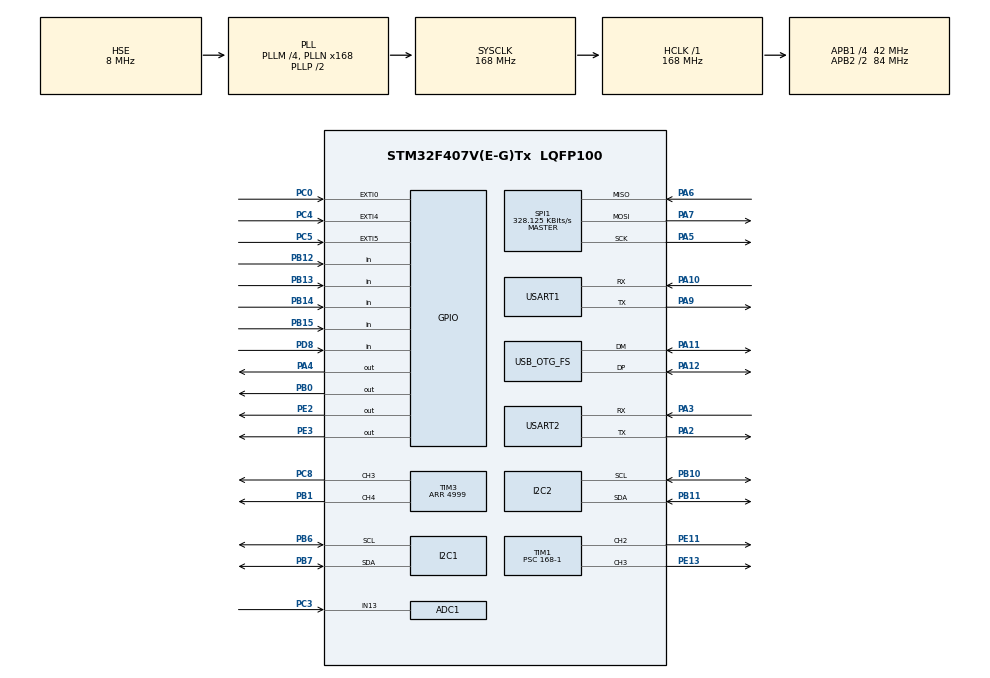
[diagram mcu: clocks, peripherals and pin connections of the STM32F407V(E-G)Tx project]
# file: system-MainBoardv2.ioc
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ADC1.Channel-0\#ChannelRegularConversion=ADC_CHANNEL_TEMPSENSOR
ADC1.Channel-1\#ChannelRegularConversion=ADC_CHANNEL_13
ADC1.ContinuousConvMode=ENABLE
ADC1.DMAContinuousRequests=ENABLE
ADC1.NbrOfConversion=2
ADC1.NbrOfConversionFlag=1
ADC1.Rank-0\#ChannelRegularConversion=1
ADC1.Rank-1\#ChannelRegularConversion=2
ADC1.SamplingTime-0\#ChannelRegularConversion=ADC_SAMPLETIME_480CYCLES
ADC1.SamplingTime-1\#ChannelRegularConversion=ADC_SAMPLETIME_480CYCLES
ADC1.ScanConvMode=ENABLE
ADC1.master=1
Dma.ADC1.4.Direction=DMA_PERIPH_TO_MEMORY
Dma.ADC1.4.FIFOMode=DMA_FIFOMODE_DISABLE
Dma.ADC1.4.Instance=DMA2_Stream4
Dma.ADC1.4.MemDataAlignment=DMA_MDATAALIGN_HALFWORD
Dma.ADC1.4.MemInc=DMA_MINC_ENABLE
Dma.ADC1.4.Mode=DMA_CIRCULAR
Dma.ADC1.4.PeriphDataAlignment=DMA_PDATAALIGN_HALFWORD
Dma.ADC1.4.PeriphInc=DMA_PINC_DISABLE
Dma.ADC1.4.Priority=DMA_PRIORITY_LOW
Dma.Request0=SPI1_TX
Dma.Request1=SPI1_RX
Dma.Request2=USART1_RX
Dma.Request3=USART1_TX
Dma.Request4=ADC1
Dma.SPI1_RX.1.Direction=DMA_PERIPH_TO_MEMORY
Dma.SPI1_RX.1.FIFOMode=DMA_FIFOMODE_DISABLE
Dma.SPI1_RX.1.Instance=DMA2_Stream0
Dma.SPI1_RX.1.MemDataAlignment=DMA_MDATAALIGN_BYTE
Dma.SPI1_RX.1.MemInc=DMA_MINC_ENABLE
Dma.SPI1_RX.1.Mode=DMA_NORMAL
Dma.SPI1_RX.1.PeriphDataAlignment=DMA_PDATAALIGN_BYTE
Dma.SPI1_RX.1.PeriphInc=DMA_PINC_DISABLE
Dma.SPI1_RX.1.Priority=DMA_PRIORITY_VERY_HIGH
Dma.SPI1_TX.0.Direction=DMA_MEMORY_TO_PERIPH
Dma.SPI1_TX.0.FIFOMode=DMA_FIFOMODE_DISABLE
Dma.SPI1_TX.0.Instance=DMA2_Stream3
Dma.SPI1_TX.0.MemDataAlignment=DMA_MDATAALIGN_BYTE
Dma.SPI1_TX.0.MemInc=DMA_MINC_ENABLE
Dma.SPI1_TX.0.Mode=DMA_NORMAL
Dma.SPI1_TX.0.PeriphDataAlignment=DMA_PDATAALIGN_BYTE
Dma.SPI1_TX.0.PeriphInc=DMA_PINC_DISABLE
Dma.SPI1_TX.0.Priority=DMA_PRIORITY_HIGH
Dma.USART1_RX.2.Direction=DMA_PERIPH_TO_MEMORY
Dma.USART1_RX.2.FIFOMode=DMA_FIFOMODE_DISABLE
Dma.USART1_RX.2.Instance=DMA2_Stream2
Dma.USART1_RX.2.MemDataAlignment=DMA_MDATAALIGN_BYTE
Dma.USART1_RX.2.MemInc=DMA_MINC_ENABLE
Dma.USART1_RX.2.Mode=DMA_NORMAL
Dma.USART1_RX.2.PeriphDataAlignment=DMA_PDATAALIGN_BYTE
Dma.USART1_RX.2.PeriphInc=DMA_PINC_DISABLE
Dma.USART1_RX.2.Priority=DMA_PRIORITY_LOW
Dma.USART1_TX.3.Direction=DMA_MEMORY_TO_PERIPH
Dma.USART1_TX.3.FIFOMode=DMA_FIFOMODE_DISABLE
Dma.USART1_TX.3.Instance=DMA2_Stream7
Dma.USART1_TX.3.MemDataAlignment=DMA_MDATAALIGN_BYTE
Dma.USART1_TX.3.MemInc=DMA_MINC_ENABLE
Dma.USART1_TX.3.Mode=DMA_NORMAL
Dma.USART1_TX.3.PeriphDataAlignment=DMA_PDATAALIGN_BYTE
Dma.USART1_TX.3.PeriphInc=DMA_PINC_DISABLE
Dma.USART1_TX.3.Priority=DMA_PRIORITY_LOW
FREERTOS.INCLUDE_eTaskGetState=1
FREERTOS.INCLUDE_pcTaskGetTaskName=1
FREERTOS.INCLUDE_uxTaskGetStackHighWaterMark=1
FREERTOS.INCLUDE_vTaskCleanUpResources=1
FREERTOS.INCLUDE_vTaskDelayUntil=1
FREERTOS.INCLUDE_xEventGroupSetBitFromISR=1
FREERTOS.INCLUDE_xQueueGetMutexHolder=1
FREERTOS.INCLUDE_xSemaphoreGetMutexHolder=1
FREERTOS.INCLUDE_xTaskAbortDelay=1
FREERTOS.INCLUDE_xTaskGetCurrentTaskHandle=1
FREERTOS.INCLUDE_xTaskGetHandle=1
FREERTOS.INCLUDE_xTimerPendFunctionCall=1
FREERTOS.Tasks01=UART_Task,0,512,usart_task,As weak,NULL,Dynamic,NULL,NULL;INS_TASK,2,512,INS_Task,As weak,NULL,Dynamic,NULL,NULL
FREERTOS.configENABLE_FPU=0
FREERTOS.configUSE_TIMERS=1
Mcu.Family=STM32F4
Mcu.Name=STM32F407V(E-G)Tx
Mcu.Package=LQFP100
NVIC.DMA2_Stream0_IRQn=true\:5\:0\:false\:false\:true\:true\:false\:true\:true
NVIC.DMA2_Stream2_IRQn=true\:5\:0\:false\:false\:true\:true\:false\:true\:true
NVIC.DMA2_Stream3_IRQn=true\:5\:0\:false\:false\:true\:true\:false\:true\:true
NVIC.DMA2_Stream4_IRQn=true\:5\:0\:true\:false\:true\:true\:false\:true\:true
NVIC.DMA2_Stream7_IRQn=true\:5\:0\:false\:false\:true\:true\:false\:true\:true
NVIC.EXTI0_IRQn=true\:5\:0\:false\:false\:true\:true\:true\:true\:true
NVIC.EXTI4_IRQn=true\:5\:0\:true\:false\:true\:true\:true\:true\:true
NVIC.EXTI9_5_IRQn=true\:5\:0\:true\:false\:true\:true\:true\:true\:true
NVIC.OTG_FS_IRQn=true\:5\:0\:false\:false\:true\:true\:false\:true\:true
NVIC.PriorityGroup=NVIC_PRIORITYGROUP_4
NVIC.TIM2_IRQn=true\:15\:0\:false\:false\:true\:false\:false\:true\:true
NVIC.TimeBase=TIM2_IRQn
NVIC.TimeBaseIP=TIM2
PA10.Mode=Asynchronous
PA10.Signal=USART1_RX
PA11.Mode=Device_Only
PA11.Signal=USB_OTG_FS_DM
PA12.GPIO_PuPd=GPIO_PULLUP
PA12.Mode=Device_Only
PA12.Signal=USB_OTG_FS_DP
PA13.Mode=Serial_Wire
PA13.Signal=SYS_JTMS-SWDIO
PA14.Mode=Serial_Wire
PA14.Signal=SYS_JTCK-SWCLK
PA2.Mode=Asynchronous
PA2.Signal=USART2_TX
PA3.Mode=Asynchronous
PA3.Signal=USART2_RX
PA4.GPIO_PuPd=GPIO_PULLUP
PA4.GPIO_Speed=GPIO_SPEED_FREQ_HIGH
PA4.PinState=GPIO_PIN_SET
PA4.Signal=GPIO_Output
PA5.Mode=Full_Duplex_Master
PA5.Signal=SPI1_SCK
PA6.Mode=Full_Duplex_Master
PA6.Signal=SPI1_MISO
PA7.Mode=Full_Duplex_Master
PA7.Signal=SPI1_MOSI
PA9.Mode=Asynchronous
PA9.Signal=USART1_TX
PB0.GPIO_ModeDefaultOutputPP=GPIO_MODE_OUTPUT_PP
PB0.GPIO_PuPd=GPIO_PULLUP
PB0.GPIO_Speed=GPIO_SPEED_FREQ_HIGH
PB0.PinState=GPIO_PIN_SET
PB0.Signal=GPIO_Output
PB1.Signal=S_TIM3_CH4
PB10.Mode=I2C
PB10.Signal=I2C2_SCL
PB11.Mode=I2C
PB11.Signal=I2C2_SDA
PB12.GPIO_PuPd=GPIO_PULLUP
PB12.Signal=GPIO_Input
PB13.GPIO_PuPd=GPIO_PULLUP
PB13.Signal=GPIO_Input
PB14.GPIO_PuPd=GPIO_PULLUP
PB14.Signal=GPIO_Input
PB15.GPIO_PuPd=GPIO_PULLUP
PB15.Signal=GPIO_Input
PB6.Mode=I2C
PB6.Signal=I2C1_SCL
PB7.Mode=I2C
PB7.Signal=I2C1_SDA
PC0.GPIO_ModeDefaultEXTI=GPIO_MODE_IT_FALLING
PC0.GPIO_PuPd=GPIO_PULLUP
PC0.Signal=GPXTI0
PC3.Signal=ADCx_IN13
PC4.GPIO_ModeDefaultEXTI=GPIO_MODE_IT_FALLING
PC4.GPIO_PuPd=GPIO_PULLUP
PC4.Signal=GPXTI4
PC5.GPIO_ModeDefaultEXTI=GPIO_MODE_IT_FALLING
PC5.GPIO_PuPd=GPIO_PULLUP
PC5.Signal=GPXTI5
PC8.Signal=S_TIM3_CH3
PD8.GPIO_PuPd=GPIO_PULLUP
PD8.Signal=GPIO_Input
PE11.Signal=S_TIM1_CH2
PE13.Signal=S_TIM1_CH3
PE2.GPIO_PuPd=GPIO_PULLUP
PE2.PinState=GPIO_PIN_SET
PE2.Signal=GPIO_Output
PE3.GPIO_PuPd=GPIO_PULLUP
PE3.PinState=GPIO_PIN_SET
PE3.Signal=GPIO_Output
PH0-OSC_IN.Mode=HSE-External-Oscillator
PH0-OSC_IN.Signal=RCC_OSC_IN
PH1-OSC_OUT.Mode=HSE-External-Oscillator
PH1-OSC_OUT.Signal=RCC_OSC_OUT
ProjectManager.HeapSize=0x1000
ProjectManager.StackSize=0x400
ProjectManager.TargetToolchain=MDK-ARM V5.32
RCC.48MHZClocksFreq_Value=48000000
RCC.AHBFreq_Value=168000000
RCC.APB1CLKDivider=RCC_HCLK_DIV4
RCC.APB1Freq_Value=42000000
RCC.APB1TimFreq_Value=84000000
RCC.APB2CLKDivider=RCC_HCLK_DIV2
RCC.APB2Freq_Value=84000000
RCC.APB2TimFreq_Value=168000000
RCC.CortexFreq_Value=168000000
RCC.HCLKFreq_Value=168000000
RCC.HSE_VALUE=8000000
RCC.HSI_VALUE=16000000
RCC.LSE_VALUE=32768
RCC.PLLM=4
RCC.PLLN=168
RCC.PLLQ=7
RCC.SYSCLKFreq_VALUE=168000000
RCC.SYSCLKSource=RCC_SYSCLKSOURCE_PLLCLK
RCC.VCOOutputFreq_Value=336000000
SH.ADCx_IN13.0=ADC1_IN13,IN13
SH.S_TIM1_CH2.0=TIM1_CH2,PWM Generation2 CH2
SH.S_TIM1_CH3.0=TIM1_CH3,PWM Generation3 CH3
SH.S_TIM3_CH3.0=TIM3_CH3,PWM Generation3 CH3
SH.S_TIM3_CH4.0=TIM3_CH4,PWM Generation4 CH4
SPI1.BaudRatePrescaler=SPI_BAUDRATEPRESCALER_256
SPI1.CLKPhase=SPI_PHASE_2EDGE
SPI1.CLKPolarity=SPI_POLARITY_HIGH
SPI1.CalculateBaudRate=328.125 KBits/s
SPI1.Direction=SPI_DIRECTION_2LINES
SPI1.Mode=SPI_MODE_MASTER
SPI1.VirtualType=VM_MASTER
TIM1.Channel-PWM\ Generation2\ CH2=TIM_CHANNEL_2
TIM1.Channel-PWM\ Generation3\ CH3=TIM_CHANNEL_3
TIM1.Period=20000-1
TIM1.Prescaler=168-1
TIM3.Channel-PWM\ Generation3\ CH3=TIM_CHANNEL_3
TIM3.Channel-PWM\ Generation4\ CH4=TIM_CHANNEL_4
TIM3.Period=4999
USART1.VirtualMode=VM_ASYNC
USART2.VirtualMode=VM_ASYNC
USB_DEVICE.CLASS_NAME_FS=CDC
USB_DEVICE.VirtualMode-CDC_FS=Cdc
USB_DEVICE.VirtualModeFS=Cdc_FS
USB_OTG_FS.VirtualMode=Device_Only
VP_ADC1_TempSens_Input.Mode=IN-TempSens
VP_ADC1_Vbat_Input.Mode=IN-Vbat
VP_ADC1_Vref_Input.Mode=IN-Vrefint
VP_CRC_VS_CRC.Mode=CRC_Activate
VP_FREERTOS_VS_CMSIS_V1.Mode=CMSIS_V1
VP_SYS_VS_tim2.Mode=TIM2
VP_USB_DEVICE_VS_USB_DEVICE_CDC_FS.Mode=CDC_FS
board=custom

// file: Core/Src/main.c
/* USER CODE BEGIN Header */
/**
  ******************************************************************************
  * @file           : main.c
  * @brief          : Main program body
  ******************************************************************************
  * @attention
  *
  * Copyright (c) 2025 STMicroelectronics.
  * All rights reserved.
  *
  * This software is licensed under terms that can be found in the LICENSE file
  * in the root directory of this software component.
  * If no LICENSE file comes with this software, it is provided AS-IS.
  *
  ******************************************************************************
  */
/* USER CODE END Header */
#include "main.h"
#include "cmsis_os.h"
#include "adc.h"
#include "crc.h"
#include "dma.h"
#include "i2c.h"
#include "spi.h"
#include "tim.h"
#include "usart.h"
#include "usb_device.h"
#include "gpio.h"

/* USER CODE BEGIN Includes */
#include "bsp_delay.h"
#include "bsp_adc.h"
/* USER CODE END Includes */

/* USER CODE BEGIN PV */
uint16_t ADC_buf[2];

/* USER CODE END PV */

void SystemClock_Config(void);
void MX_FREERTOS_Init(void);

int main(void)
{

  /* MCU Configuration--------------------------------------------------------*/

  /* Reset of all peripherals, Initializes the Flash interface and the Systick. */
  HAL_Init();

  /* Configure the system clock */
  SystemClock_Config();

  /* Initialize all configured peripherals */
  MX_GPIO_Init();
  MX_DMA_Init();
  MX_SPI1_Init();
  MX_USART1_UART_Init();
  MX_USART2_UART_Init();
  MX_I2C2_Init();
  MX_TIM1_Init();
  MX_TIM3_Init();
  MX_ADC1_Init();
  MX_CRC_Init();
  MX_I2C1_Init();
  /* USER CODE BEGIN 2 */
	delay_init();
	TIM1->CCR2=0;
	TIM1->CCR3=0;

	MX_USB_DEVICE_Init();

	HAL_TIM_PWM_Start(&htim1, TIM_CHANNEL_2);
	HAL_TIM_PWM_Start(&htim1, TIM_CHANNEL_3);
	HAL_TIM_PWM_Start(&htim3, TIM_CHANNEL_4);

	HAL_ADC_Start_DMA(&hadc1,(uint32_t *)ADC_buf,2);
  /* USER CODE END 2 */

  /* Call init function for freertos objects (in cmsis_os2.c) */
  MX_FREERTOS_Init();

  /* Start scheduler */
  osKernelStart();

  /* We should never get here as control is now taken by the scheduler */

  /* Infinite loop */
  while (1)
  {

  }
}

void SystemClock_Config(void)
{
  RCC_OscInitTypeDef RCC_OscInitStruct = {0};
  RCC_ClkInitTypeDef RCC_ClkInitStruct = {0};

  /** Configure the main internal regulator output voltage
  */
  __HAL_RCC_PWR_CLK_ENABLE();
  __HAL_PWR_VOLTAGESCALING_CONFIG(PWR_REGULATOR_VOLTAGE_SCALE1);

  /** Initializes the RCC Oscillators according to the specified parameters
  * in the RCC_OscInitTypeDef structure.
  */
  RCC_OscInitStruct.OscillatorType = RCC_OSCILLATORTYPE_HSE;
  RCC_OscInitStruct.HSEState = RCC_HSE_ON;
  RCC_OscInitStruct.PLL.PLLState = RCC_PLL_ON;
  RCC_OscInitStruct.PLL.PLLSource = RCC_PLLSOURCE_HSE;
  RCC_OscInitStruct.PLL.PLLM = 4;
  RCC_OscInitStruct.PLL.PLLN = 168;
  RCC_OscInitStruct.PLL.PLLP = RCC_PLLP_DIV2;
  RCC_OscInitStruct.PLL.PLLQ = 7;
  if (HAL_RCC_OscConfig(&RCC_OscInitStruct) != HAL_OK)
  {
    Error_Handler();
  }

  /** Initializes the CPU, AHB and APB buses clocks
  */
  RCC_ClkInitStruct.ClockType = RCC_CLOCKTYPE_HCLK|RCC_CLOCKTYPE_SYSCLK
                              |RCC_CLOCKTYPE_PCLK1|RCC_CLOCKTYPE_PCLK2;
  RCC_ClkInitStruct.SYSCLKSource = RCC_SYSCLKSOURCE_PLLCLK;
  RCC_ClkInitStruct.AHBCLKDivider = RCC_SYSCLK_DIV1;
  RCC_ClkInitStruct.APB1CLKDivider = RCC_HCLK_DIV4;
  RCC_ClkInitStruct.APB2CLKDivider = RCC_HCLK_DIV2;

  if (HAL_RCC_ClockConfig(&RCC_ClkInitStruct, FLASH_LATENCY_5) != HAL_OK)
  {
    Error_Handler();
  }
}

void HAL_TIM_PeriodElapsedCallback(TIM_HandleTypeDef *htim)
{
  if (htim->Instance == TIM2) {
    HAL_IncTick();
  }
}

void Error_Handler(void)
{
  __disable_irq();
  while (1)
  {
  }
}

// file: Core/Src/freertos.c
/* USER CODE BEGIN Header */
/**
  ******************************************************************************
  * File Name          : freertos.c
  * Description        : Code for freertos applications
  ******************************************************************************
  * @attention
  *
  * Copyright (c) 2025 STMicroelectronics.
  * All rights reserved.
  *
  * This software is licensed under terms that can be found in the LICENSE file
  * in the root directory of this software component.
  * If no LICENSE file comes with this software, it is provided AS-IS.
  *
  ******************************************************************************
  */
/* USER CODE END Header */

#include "FreeRTOS.h"
#include "task.h"
#include "main.h"
#include "cmsis_os.h"

/* USER CODE BEGIN Includes */
#include "INS_task.h"
/* USER CODE END Includes */

/* USER CODE BEGIN Variables */
osThreadId Gimbal_TASKHandle;
/* USER CODE END Variables */
osThreadId UART_TaskHandle;
osThreadId INS_TASKHandle;

/* USER CODE BEGIN FunctionPrototypes */
void Gimbal_Task(void const * argument);

/* USER CODE END FunctionPrototypes */

void usart_task(void const * argument);
void INS_Task(void const * argument);

extern void MX_USB_DEVICE_Init(void);
void MX_FREERTOS_Init(void); /* (MISRA C 2004 rule 8.1) */

/* GetIdleTaskMemory prototype (linked to static allocation support) */
void vApplicationGetIdleTaskMemory( StaticTask_t **ppxIdleTaskTCBBuffer, StackType_t **ppxIdleTaskStackBuffer, uint32_t *pulIdleTaskStackSize );

/* GetTimerTaskMemory prototype (linked to static allocation support) */
void vApplicationGetTimerTaskMemory( StaticTask_t **ppxTimerTaskTCBBuffer, StackType_t **ppxTimerTaskStackBuffer, uint32_t *pulTimerTaskStackSize );

/* USER CODE BEGIN GET_IDLE_TASK_MEMORY */
static StaticTask_t xIdleTaskTCBBuffer;
static StackType_t xIdleStack[configMINIMAL_STACK_SIZE];

void vApplicationGetIdleTaskMemory( StaticTask_t **ppxIdleTaskTCBBuffer, StackType_t **ppxIdleTaskStackBuffer, uint32_t *pulIdleTaskStackSize )
{
  *ppxIdleTaskTCBBuffer = &xIdleTaskTCBBuffer;
  *ppxIdleTaskStackBuffer = &xIdleStack[0];
  *pulIdleTaskStackSize = configMINIMAL_STACK_SIZE;
  /* place for user code */
}
/* USER CODE END GET_IDLE_TASK_MEMORY */

/* USER CODE BEGIN GET_TIMER_TASK_MEMORY */
static StaticTask_t xTimerTaskTCBBuffer;
static StackType_t xTimerStack[configTIMER_TASK_STACK_DEPTH];

void vApplicationGetTimerTaskMemory( StaticTask_t **ppxTimerTaskTCBBuffer, StackType_t **ppxTimerTaskStackBuffer, uint32_t *pulTimerTaskStackSize )
{
  *ppxTimerTaskTCBBuffer = &xTimerTaskTCBBuffer;
  *ppxTimerTaskStackBuffer = &xTimerStack[0];
  *pulTimerTaskStackSize = configTIMER_TASK_STACK_DEPTH;
  /* place for user code */
}
/* USER CODE END GET_TIMER_TASK_MEMORY */

void MX_FREERTOS_Init(void) {

  /* Create the thread(s) */
  /* definition and creation of UART_Task */
  osThreadDef(UART_Task, usart_task, osPriorityNormal, 0, 512);
  UART_TaskHandle = osThreadCreate(osThread(UART_Task), NULL);

  /* definition and creation of INS_TASK */
  osThreadDef(INS_TASK, INS_Task, osPriorityHigh, 0, 512);
  INS_TASKHandle = osThreadCreate(osThread(INS_TASK), NULL);

  /* USER CODE BEGIN RTOS_THREADS */
	 osThreadDef(Gimbal_TASK, Gimbal_Task, osPriorityHigh, 0, 512);
  Gimbal_TASKHandle = osThreadCreate(osThread(Gimbal_TASK), NULL);
  /* add threads, ... */
  /* USER CODE END RTOS_THREADS */

}

__weak void usart_task(void const * argument)
{
  /* init code for USB_DEVICE */
  MX_USB_DEVICE_Init();
  for(;;)
  {
    osDelay(1);
  }
}

__weak void INS_Task(void const * argument)
{
  for(;;)
  {
    osDelay(1);
  }
}
